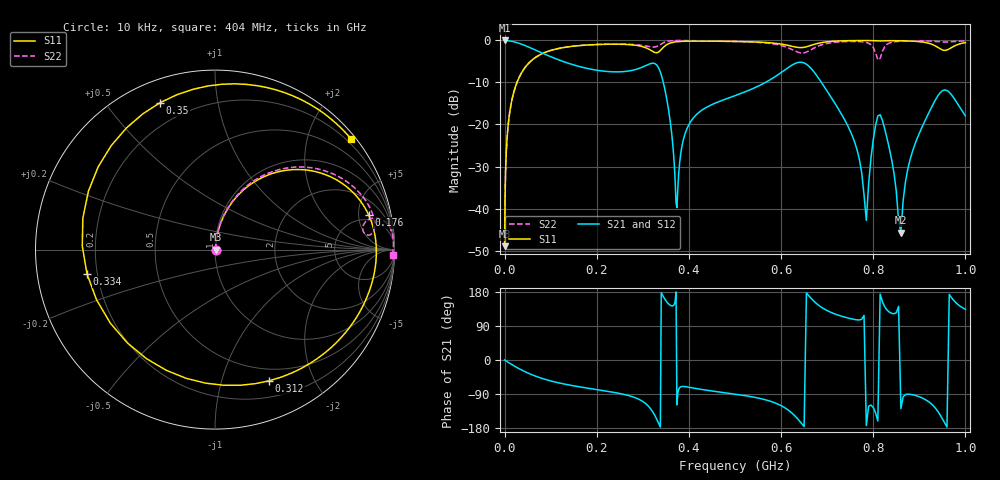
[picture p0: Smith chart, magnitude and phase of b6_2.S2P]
!Generated from: C:\Users\nkfzm\OneDrive - University of Missouri\Desktop\Research\PowerSI\Board 6 - GGPG\b6.spd
! Port1_ic_port_1::pwr
! Port2_decap_port_1::pwr
!Layout Workbench Version: 24.1.0.10141.541387  000
!Computer Host Name: RS29JQCX3
!TouchstoneFormatFlag = 1
! GNDNET gnd
! NETSLIST
#	Hz	Z	RI	R	1
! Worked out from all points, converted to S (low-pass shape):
!   385 points, 10 kHz to 1 GHz, reference 1 ohm
!   highest |S21| = -0.03 dB at 13.34 kHz (marker M1); lowest = -45.7 dB at 860 MHz (marker M2)
!   |S21| within 3 dB of the highest: start of sweep to 81.82 MHz
!   lowest |S11| = -48.9 dB at 10 kHz (marker M3), VSWR 1.01, Z = 1.01 + j0.000266 ohm
!   |S11| at or under -10 dB: start of sweep to 26.9 MHz
!   |S22| runs from -48.9 to 0.0 dB; largest |S21 - S12| = 7.3e-12
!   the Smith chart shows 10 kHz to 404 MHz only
!   S11 on the Smith chart (normalised r, x): 10 kHz: 1.01, +0.00; 176 MHz: 3.94, +6.64; 312 MHz: 0.37, -1.43; 334 MHz: 0.16, -0.09; 350 MHz: 0.10, +0.69; 404 MHz: 0.10, +2.80
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10000  -0.2029 -1.034e+05  -0.2059 -1.034e+05  -0.2059 -1.034e+05  -0.2016 -1.034e+05
13335.21  0.4973 -7.751e+04  0.4938 -7.751e+04  0.4938 -7.751e+04  0.4975 -7.751e+04
5500000  0.00426 -187.9  8.4e-05 -187.9  8.4e-05 -187.9  0.00597 -187.8
2.6e7  0.00948 -39.48  0.000164 -39.76  0.000164 -39.76  0.0134 -39.35
1.68e8  0.025 -4.429  0.0012 -6.167  0.0012 -6.167  0.0424 -3.307
1.76e8  0.0257 -4.064  0.00135 -5.885  0.00135 -5.885  0.0446 -2.854
3.12e8  0.0388 0.0772  0.0151 -3.015  0.0151 -3.015  0.1952 5.774
3.34e8  0.0424 0.5983  0.0297 -2.547  0.0297 -2.547  0.3463 9.174
3.5e8  0.0468 0.9849  0.058 -2.035  0.058 -2.035  0.6397 13.68
3.74e8  0.0768 1.688  0.3452 0.1382  0.3452 0.1382  3.669 35.83
4.04e8  0.0859 1.646  0.4246 -7.048  0.4246 -7.048  4.786 -42.84
5.05e8  0.0673 4.289  -0.00224 -3.274  -0.00224 -3.274  0.0978 -4.001
6.2e8  0.1383 8.435  -0.0157 -3.137  -0.0157 -3.137  0.0622 0.264
6.7e8  0.257 12.18  -0.033 -3.472  -0.033 -3.472  0.0715 1.613
7.85e8  14.9 -77.56  1.288 8.762  1.288 8.762  26.02 -14.88
8.05e8  2.118 -27.5  -0.274 2.62  -0.274 2.62  0.4894 -1.538
8.15e8  1.245 -19.98  -0.1658 1.635  -0.1658 1.635  0.2579 -0.0119
8.35e8  0.5919 -12.07  -0.0784 0.5933  -0.0784 0.5933  0.1297 1.501
8.6e8  0.3218 -7.128  -0.0403 -0.0326  -0.0403 -0.0326  0.0891 2.545
9.35e8  0.1309 -0.878  -0.00995 -0.6887  -0.00995 -0.6887  0.0736 4.524
9.55e8  0.1168 0.0604  -0.00648 -0.7494  -0.00648 -0.7494  0.0761 4.994
1e9  0.1011 1.772  0.001 -0.7911  0.001 -0.7911  0.0882 6.112
